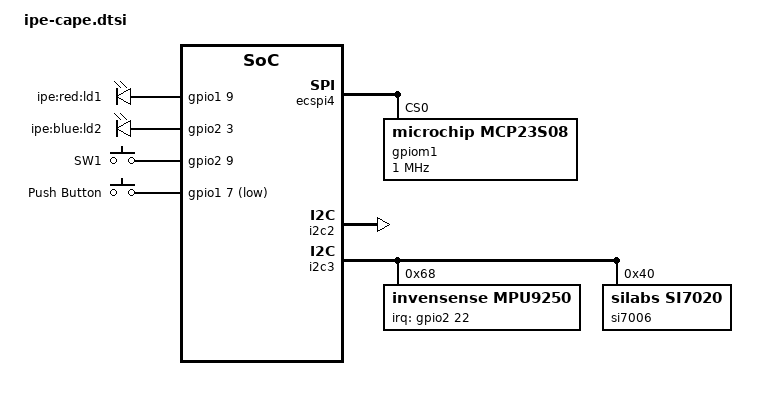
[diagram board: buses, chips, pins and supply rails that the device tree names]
/*
 * Copyright 2019 Embedded Labworks
 * Copyright 2014-2016 Toradex AG
 * Copyright 2012 Freescale Semiconductor, Inc.
 * Copyright 2011 Linaro Ltd.
 *
 * This file is dual-licensed: you can use it either under the terms
 * of the GPL or the X11 license, at your option. Note that this dual
 * licensing only applies to this file, and not this project as a
 * whole.
 *
 *  a) This file is free software; you can redistribute it and/or
 *     modify it under the terms of the GNU General Public License
 *     version 2 as published by the Free Software Foundation.
 *
 *     This file is distributed in the hope that it will be useful,
 *     but WITHOUT ANY WARRANTY; without even the implied warranty of
 *     MERCHANTABILITY or FITNESS FOR A PARTICULAR PURPOSE.  See the
 *     GNU General Public License for more details.
 *
 * Or, alternatively,
 *
 *  b) Permission is hereby granted, free of charge, to any person
 *     obtaining a copy of this software and associated documentation
 *     files (the "Software"), to deal in the Software without
 *     restriction, including without limitation the rights to use,
 *     copy, modify, merge, publish, distribute, sublicense, and/or
 *     sell copies of the Software, and to permit persons to whom the
 *     Software is furnished to do so, subject to the following
 *     conditions:
 *
 *     The above copyright notice and this permission notice shall be
 *     included in all copies or substantial portions of the Software.
 *
 *     THE SOFTWARE IS PROVIDED "AS IS", WITHOUT WARRANTY OF ANY KIND,
 *     EXPRESS OR IMPLIED, INCLUDING BUT NOT LIMITED TO THE WARRANTIES
 *     OF MERCHANTABILITY, FITNESS FOR A PARTICULAR PURPOSE AND
 *     NONINFRINGEMENT. IN NO EVENT SHALL THE AUTHORS OR COPYRIGHT
 *     HOLDERS BE LIABLE FOR ANY CLAIM, DAMAGES OR OTHER LIABILITY,
 *     WHETHER IN AN ACTION OF CONTRACT, TORT OR OTHERWISE, ARISING
 *     FROM, OUT OF OR IN CONNECTION WITH THE SOFTWARE OR THE USE OR
 *     OTHER DEALINGS IN THE SOFTWARE.
 */

#include <dt-bindings/input/input.h>

/ {
	leds {
		compatible = "gpio-leds";
		pinctrl-names = "default";
		pinctrl-0 = <&pinctrl_gpio_leds>;

		led1 {
			label = "ipe:red:ld1";
			gpios = <&gpio1 9 GPIO_ACTIVE_HIGH>;
		};

		led2 {
			label = "ipe:blue:ld2";
			gpios = <&gpio2 3 GPIO_ACTIVE_HIGH>;
		};
	};

	gpio-keys {
		compatible = "gpio-keys";
		pinctrl-names = "default";
		pinctrl-0 = <&pinctrl_gpio_cape_keys>;

		key1 {
			label = "SW1";
			gpios = <&gpio2 9 GPIO_ACTIVE_HIGH>;
			linux,code = <KEY_POWER>;
			debounce-interval = <20>;
		};

		key2 {
			label = "Push Button";
			gpios = <&gpio1 7 GPIO_ACTIVE_LOW>;
			linux,code = <KEY_ENTER>;
			debounce-interval = <20>;
		};
	};
};

&ecspi4 {
	status = "okay";

	gpiom1: gpio@0 {
		compatible = "microchip,mcp23s08";
		gpio-controller;
		#gpio-cells = <2>;
		microchip,spi-present-mask = <0x01>;
		reg = <0>;
		spi-max-frequency = <1000000>;
	};
};

&i2c2 {
	status = "okay";

	/* STMPE811 touch screen controller */
	stmpe811@41 {
		compatible = "st,stmpe811";
		pinctrl-names = "default";
		pinctrl-0 = <&pinctrl_stmpe_int>;
		#address-cells = <1>;
		#size-cells = <0>;
		reg = <0x41>;
		interrupts = <20 IRQ_TYPE_LEVEL_LOW>;
		interrupt-parent = <&gpio6>;
		interrupt-controller;
		id = <0>;
		blocks = <0x5>;
		irq-trigger = <0x1>;

		/* disabled because sometimes the device is not identified in the I2C bus */
		status = "disabled";

		stmpe_adc {
			compatible = "st,stmpe-adc";
			/* 3.25 MHz ADC clock speed */
			st,adc-freq = <1>;
			/* 12-bit ADC */
			st,mod-12b = <1>;
			/* internal ADC reference */
			st,ref-sel = <0>;
			/* ADC converstion time: 80 clocks */
			st,sample-time = <4>;
		};
	};
};

&i2c3 {
	status = "okay";

	mpu9250@68 {
		compatible = "invensense,mpu9250";
		pinctrl-names = "default";
		pinctrl-0 = <&pinctrl_gpio_accel>;
		reg = <0x68>;
		interrupt-parent = <&gpio2>;
		interrupts = <22 IRQ_TYPE_EDGE_RISING>;
	};

	si7006@40 {
		compatible = "silabs,si7020";
		reg = <0x40>;
	};
};

/* PWM1 pins conflict with leds pins */
&pwm1 {
	status = "disabled";
};

/* PWM3 pins conflict with gpio-keys pins */
&pwm3 {
	status = "disabled";
};

&iomuxc {
	pinctrl-0 = <
		&pinctrl_csi_gpio_1
		&pinctrl_gpio_aster
		&pinctrl_usbh_oc_1
		&pinctrl_usbc_id_1
		&pinctrl_weim_gpio_5
	>;
	pinctrl_gpio_leds: gpioledsgrp {
		fsl,pins = <
			MX6QDL_PAD_NANDF_D3__GPIO2_IO03 0x1b0b1  /* SODIMM 133 */
			MX6QDL_PAD_GPIO_9__GPIO1_IO09   0x1b0b1  /* SODIMM 28 */
		>;
	};
	pinctrl_gpio_cape_keys: gpiocapekeysgrp {
		fsl,pins = <
			MX6QDL_PAD_EIM_A22__GPIO2_IO16  0x1b0b0  /* SODIMM 59_1 */
			MX6QDL_PAD_SD4_DAT1__GPIO2_IO09 0x1b0b0  /* SODIMM 59_2 */
			MX6QDL_PAD_GPIO_7__GPIO1_IO07   0x1b0b0  /* SODIMM 55 */
		>;
	};
	pinctrl_stmpe_int: stmpeintgrp {
		fsl,pins = <
			MX6QDL_PAD_RGMII_TD0__GPIO6_IO20	0x1b0b0	/* STMPE811 interrupt */
		>;
	};
	pinctrl_gpio_accel: gpioaccelgrp {
		fsl,pins = <
			MX6QDL_PAD_EIM_A16__GPIO2_IO22	0x1b0b0  /* MPU_INT - SODIMM 45 */
		>;
	};
	pinctrl_gpio_aster: gpioaster {
		fsl,pins = <
			MX6QDL_PAD_KEY_COL2__GPIO4_IO10		0x1b0b0
			MX6QDL_PAD_KEY_ROW2__GPIO4_IO11		0x1b0b0
			MX6QDL_PAD_KEY_ROW4__GPIO4_IO15		0x1b0b0
			MX6QDL_PAD_NANDF_D1__GPIO2_IO01		0x1b0b0
			MX6QDL_PAD_NANDF_D6__GPIO2_IO06		0x1b0b0
			MX6QDL_PAD_SD4_DAT0__GPIO2_IO08		0x1b0b0
			MX6QDL_PAD_SD4_DAT3__GPIO2_IO11		0x1b0b0
		>;
	};
};
